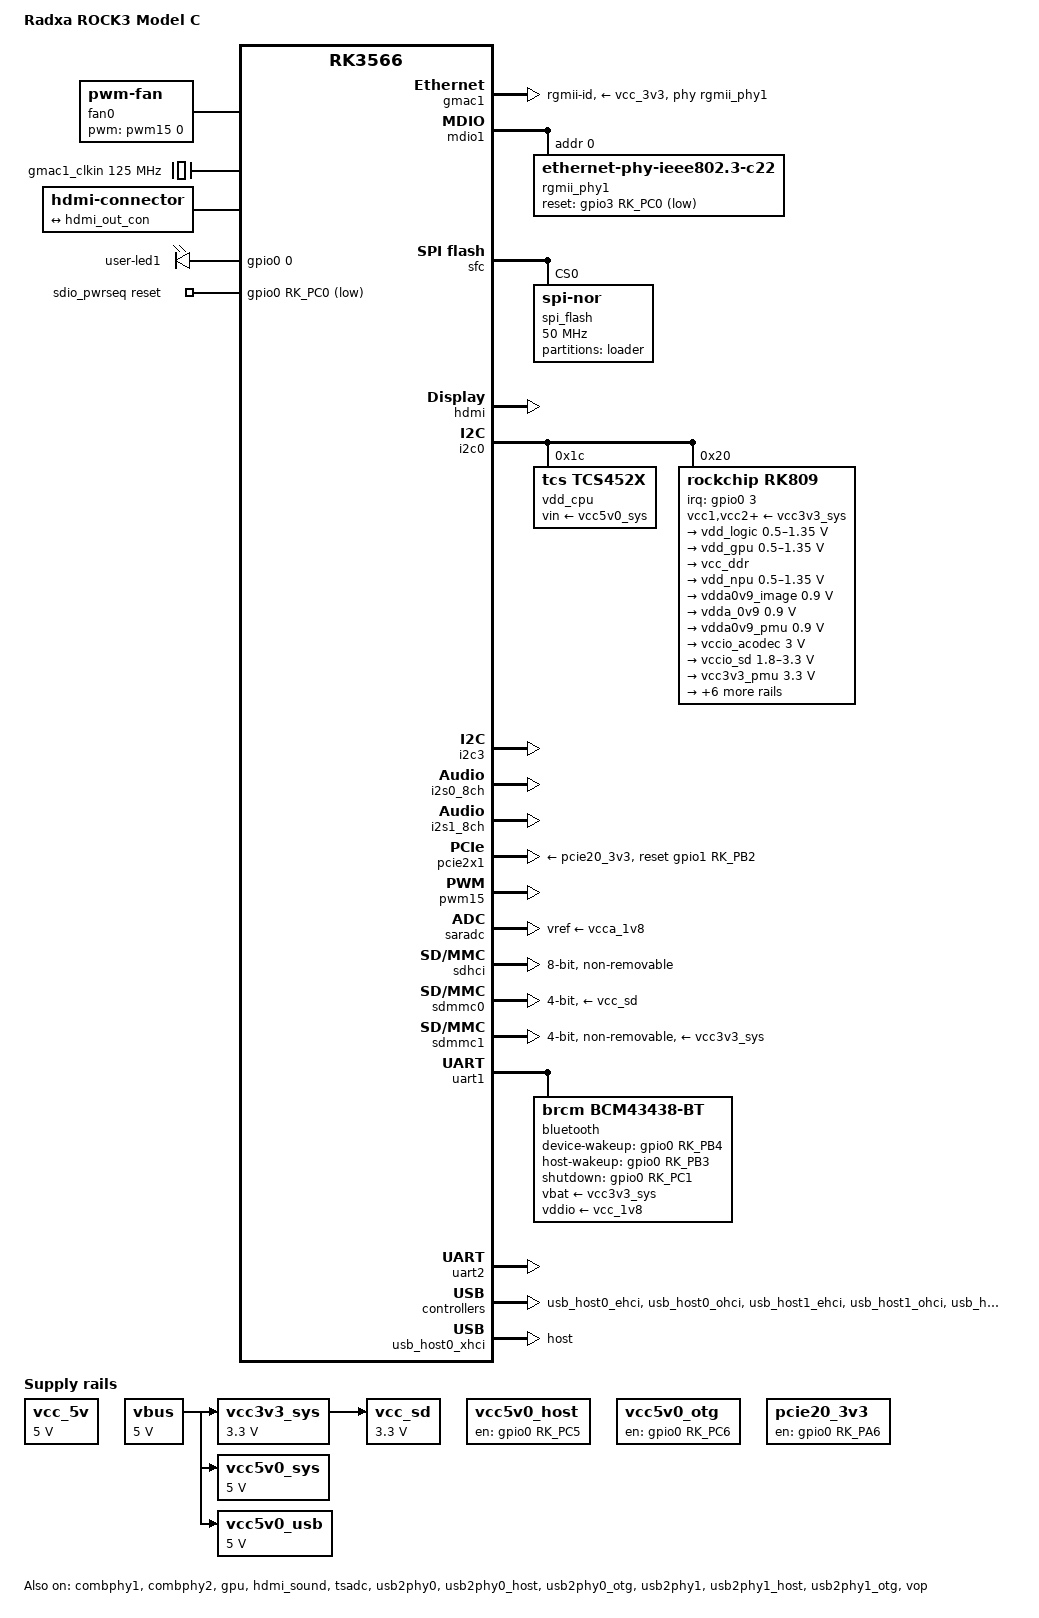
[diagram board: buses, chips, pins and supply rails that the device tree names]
// SPDX-License-Identifier: (GPL-2.0+ OR MIT)
/*
 * Copyright (c) 2020 Rockchip Electronics Co., Ltd.
 *
 */
/dts-v1/;

#include <dt-bindings/gpio/gpio.h>
#include <dt-bindings/pwm/pwm.h>
#include <dt-bindings/pinctrl/rockchip.h>
#include <dt-bindings/soc/rockchip,vop2.h>
#include "rk3566.dtsi"

/ {
	model = "Radxa ROCK3 Model C";
	compatible = "radxa,rock-3c", "rockchip,rk3566";

	aliases {
		ethernet0 = &gmac1;
		mmc0 = &sdhci;
		mmc1 = &sdmmc0;
	};

	chosen: chosen {
		stdout-path = "serial2:1500000n8";
	};

	fan0: pwm-fan {
		compatible = "pwm-fan";
		#cooling-cells = <2>;
		cooling-levels = <0 64 128 192 255>;
		pwms = <&pwm15 0 40000 0>;
	};
	
	gmac1_clkin: external-gmac1-clock {
		compatible = "fixed-clock";
		clock-frequency = <125000000>;
		clock-output-names = "gmac1_clkin";
		#clock-cells = <0>;
	};

	hdmi-con {
		compatible = "hdmi-connector";
		type = "a";

		port {
			hdmi_con_in: endpoint {
				remote-endpoint = <&hdmi_out_con>;
			};
		};
	};

	gpio-leds {
		compatible = "gpio-leds";
		status = "okay";

		user-led1 {
			gpios = <&gpio0 0 GPIO_ACTIVE_HIGH>;
			linux,default-trigger = "heartbeat";
			default-state = "on";
			pinctrl-0 = <&led_ctl>;
		};
	};	

	rk809-sound {
		compatible = "simple-audio-card";
		simple-audio-card,format = "i2s";
		simple-audio-card,name = "Analog RK809";
		simple-audio-card,mclk-fs = <256>;

		simple-audio-card,cpu {
			sound-dai = <&i2s1_8ch>;
		};

		simple-audio-card,codec {
			sound-dai = <&rk809>;
		};
	};

	sdio_pwrseq: sdio-pwrseq {
		compatible = "mmc-pwrseq-simple";
		clocks = <&rk809 1>;
		clock-names = "ext_clock";
		pinctrl-names = "default";
		pinctrl-0 = <&wifi_enable>;
		post-power-on-delay-ms = <100>;
		power-off-delay-us = <5000000>;
		reset-gpios = <&gpio0 RK_PC0 GPIO_ACTIVE_LOW>;
	};

	/* labeled +5v in schematic */
	vcc_5v: vcc-5v-regulator {
		compatible = "regulator-fixed";
		regulator-name = "vcc_5v";
		regulator-always-on;
		regulator-boot-on;
		regulator-min-microvolt = <5000000>;
		regulator-max-microvolt = <5000000>;
	};

	vbus: vbus {
		compatible = "regulator-fixed";
		regulator-name = "vbus";
		regulator-always-on;
		regulator-boot-on;
		regulator-min-microvolt = <5000000>;
		regulator-max-microvolt = <5000000>;
	};

	vcc3v3_sys: vcc3v3-sys {
		compatible = "regulator-fixed";
		regulator-name = "vcc3v3_sys";
		regulator-always-on;
		regulator-boot-on;
		regulator-min-microvolt = <3300000>;
		regulator-max-microvolt = <3300000>;
		vin-supply = <&vbus>;
	};

	vcc5v0_sys: vcc5v0-sys {
		compatible = "regulator-fixed";
		regulator-name = "vcc5v0_sys";
		regulator-always-on;
		regulator-boot-on;
		regulator-min-microvolt = <5000000>;
		regulator-max-microvolt = <5000000>;
		vin-supply = <&vbus>;
	};

	vcc5v0_usb: vcc5v0-usb {
		compatible = "regulator-fixed";
		regulator-name = "vcc5v0_usb";
		regulator-always-on;
		regulator-boot-on;
		regulator-min-microvolt = <5000000>;
		regulator-max-microvolt = <5000000>;
		vin-supply = <&vbus>;
	};

	vcc_sd: vcc-sd {
		compatible = "regulator-fixed";
		regulator-max-microvolt = <3300000>;
		regulator-min-microvolt = <3300000>;
		regulator-name = "vcc_sd";
		vin-supply = <&vcc3v3_sys>;
	};

	vcc5v0_host: vcc5v0-host-regulator {
		compatible = "regulator-fixed";
		enable-active-high;
		gpio = <&gpio0 RK_PC5 GPIO_ACTIVE_HIGH>;
		pinctrl-names = "default";
		pinctrl-0 = <&vcc5v0_host_en>;
		regulator-name = "vcc5v0_host";
		regulator-always-on;
		regulator-boot-on;
	};

	vcc5v0_otg: vcc5v0-otg-regulator {
		compatible = "regulator-fixed";
		enable-active-high;
		gpio = <&gpio0 RK_PC6 GPIO_ACTIVE_HIGH>;
		pinctrl-names = "default";
		pinctrl-0 = <&vcc5v0_otg_en>;
		regulator-name = "vcc5v0_otg";
		regulator-always-on;
		regulator-boot-on;
	};

	pcie20_3v3: pcie20-3v3-regulator {
		compatible = "regulator-fixed";
		enable-active-high;
		gpios = <&gpio0 RK_PA6 GPIO_ACTIVE_HIGH>;
		pinctrl-names = "default";
		pinctrl-0 = <&pcie20_3v3_en>;
		regulator-name = "pcie20_3v3";
		regulator-always-on;
		regulator-boot-on;
	};

};

&combphy1 {
	status = "okay";
};

&combphy2 {
	status = "okay";
};

&cpu0 {
	cpu-supply = <&vdd_cpu>;
};

&cpu1 {
	cpu-supply = <&vdd_cpu>;
};

&cpu2 {
	cpu-supply = <&vdd_cpu>;
};

&cpu3 {
	cpu-supply = <&vdd_cpu>;
};

&gmac1 {
	assigned-clocks = <&cru SCLK_GMAC1_RX_TX>, <&cru SCLK_GMAC1>;
	assigned-clock-parents = <&cru SCLK_GMAC1_RGMII_SPEED>, <&gmac1_clkin>;
	clock_in_out = "input";
	phy-handle = <&rgmii_phy1>;
	phy-mode = "rgmii-id";
	phy-supply = <&vcc_3v3>;
	pinctrl-names = "default";
	pinctrl-0 = <&gmac1m1_miim
		     &gmac1m1_tx_bus2
		     &gmac1m1_rx_bus2
		     &gmac1m1_rgmii_clk
		     &gmac1m1_clkinout
		     &gmac1m1_rgmii_bus>;
	status = "okay";
};

&mdio1 {
	rgmii_phy1: ethernet-phy@0 {
		compatible = "ethernet-phy-ieee802.3-c22";
		reg = <0x0>;
		pinctrl-names = "default";
		pinctrl-0 = <&eth_phy_rst>;
		reset-assert-us = <20000>;
		reset-deassert-us = <100000>;
		reset-gpios = <&gpio3 RK_PC0 GPIO_ACTIVE_LOW>;
	};
};

&sfc {
	status = "okay";
	max-freq = <50000000>;
	#address-cells = <1>;
	#size-cells = <0>;
	pinctrl-names = "default";
	pinctrl-0 = <&fspi_pins>;

	spi_flash: spi-flash@0 {
		#address-cells = <1>;
		#size-cells = <0>;
		compatible = "jedec,spi-nor";
		reg = <0x0>;
		spi-max-frequency = <50000000>;
		spi-tx-bus-width = <1>;
		spi-rx-bus-width = <4>;
		status = "okay";

		partitions {
			compatible = "fixed-partitions";
			#address-cells = <1>;
			#size-cells = <1>;
			loader@0 {
				label = "loader";
				reg = <0x0 0x1000000>;
			};
		};
	};
};

&gpu {
	mali-supply = <&vdd_gpu>;
	status = "okay";
};

&hdmi {
	avdd-0v9-supply = <&vdda0v9_image>;
	avdd-1v8-supply = <&vcca1v8_image>;
	status = "okay";
};

&hdmi_in {
	hdmi_in_vp0: endpoint {
		remote-endpoint = <&vp0_out_hdmi>;
	};
};

&hdmi_out {
	hdmi_out_con: endpoint {
		remote-endpoint = <&hdmi_con_in>;
	};
};

&hdmi_sound {
	status = "okay";
};

&i2c0 {
	status = "okay";

	vdd_cpu: tcs4525@1c {
		compatible = "tcs,tcs452x";
		reg = <0x1c>;
		vin-supply = <&vcc5v0_sys>;
		regulator-compatible = "fan53555-reg";
		regulator-name = "vdd_cpu";
		regulator-min-microvolt = <712500>;
		regulator-max-microvolt = <1390000>;
		regulator-init-microvolt = <1000000>;
		regulator-ramp-delay = <2300>;
		fcs,suspend-voltage-selector = <1>;
		regulator-boot-on;
		regulator-always-on;
		regulator-state-mem {
			regulator-off-in-suspend;
		};	
	};

	rk809: pmic@20 {
		compatible = "rockchip,rk809";
		reg = <0x20>;
		interrupt-parent = <&gpio0>;
		interrupts = <3 IRQ_TYPE_LEVEL_LOW>;

		assigned-clocks = <&cru I2S1_MCLKOUT_TX>;
		assigned-clock-parents = <&cru CLK_I2S1_8CH_TX>;
		#clock-cells = <1>;
		clock-names = "mclk";
		clocks = <&cru I2S1_MCLKOUT_TX>;
		pinctrl-names = "default", "pmic-sleep",
				"pmic-power-off", "pmic-reset";
		pinctrl-0 = <&pmic_int>, <&i2s1m0_mclk>;
		pinctrl-1 = <&soc_slppin_slp>, <&rk817_slppin_slp>;
		pinctrl-2 = <&soc_slppin_gpio>, <&rk817_slppin_pwrdn>;
		pinctrl-3 = <&soc_slppin_gpio>, <&rk817_slppin_rst>;
		#sound-dai-cells = <0>;

		rockchip,system-power-controller;
		wakeup-source;

		vcc1-supply = <&vcc3v3_sys>;
		vcc2-supply = <&vcc3v3_sys>;
		vcc3-supply = <&vcc3v3_sys>;
		vcc4-supply = <&vcc3v3_sys>;
		vcc5-supply = <&vcc3v3_sys>;
		vcc6-supply = <&vcc3v3_sys>;
		vcc7-supply = <&vcc3v3_sys>;
		vcc8-supply = <&vcc3v3_sys>;
		vcc9-supply = <&vcc3v3_sys>;

		pinctrl_rk8xx: pinctrl_rk8xx {
			gpio-controller;
			#gpio-cells = <2>;

			rk817_slppin_null: rk817_slppin_null {
				pins = "gpio_slp";
				function = "pin_fun0";
			};

			rk817_slppin_slp: rk817_slppin_slp {
				pins = "gpio_slp";
				function = "pin_fun1";
			};

			rk817_slppin_pwrdn: rk817_slppin_pwrdn {
				pins = "gpio_slp";
				function = "pin_fun2";
			};

			rk817_slppin_rst: rk817_slppin_rst {
				pins = "gpio_slp";
				function = "pin_fun3";
			};
		};

		regulators {
			vdd_logic: DCDC_REG1 {
				regulator-always-on;
				regulator-boot-on;
				regulator-min-microvolt = <500000>;
				regulator-max-microvolt = <1350000>;
				regulator-init-microvolt = <900000>;
				regulator-ramp-delay = <6001>;
				regulator-initial-mode = <0x2>;
				regulator-name = "vdd_logic";
				regulator-state-mem {
					regulator-off-in-suspend;
				};
			};

			vdd_gpu: DCDC_REG2 {
				regulator-always-on;
				regulator-boot-on;
				regulator-min-microvolt = <500000>;
				regulator-max-microvolt = <1350000>;
				regulator-init-microvolt = <900000>;
				regulator-ramp-delay = <6001>;
				regulator-initial-mode = <0x2>;
				regulator-name = "vdd_gpu";
				regulator-state-mem {
					regulator-off-in-suspend;
				};
			};

			vcc_ddr: DCDC_REG3 {
				regulator-always-on;
				regulator-boot-on;
				regulator-initial-mode = <0x2>;
				regulator-name = "vcc_ddr";
				regulator-state-mem {
					regulator-on-in-suspend;
				};
			};

			vdd_npu: DCDC_REG4 {
				regulator-always-on;
				regulator-boot-on;
				regulator-min-microvolt = <500000>;
				regulator-max-microvolt = <1350000>;
				regulator-init-microvolt = <900000>;
				regulator-ramp-delay = <6001>;
				regulator-initial-mode = <0x2>;
				regulator-name = "vdd_npu";
				regulator-state-mem {
					regulator-off-in-suspend;
				};
			};

			vdda0v9_image: LDO_REG1 {
				regulator-boot-on;
				regulator-always-on;
				regulator-min-microvolt = <900000>;
				regulator-max-microvolt = <900000>;
				regulator-name = "vdda0v9_image";
				regulator-state-mem {
					regulator-off-in-suspend;
				};
			};

			vdda_0v9: LDO_REG2 {
				regulator-always-on;
				regulator-boot-on;
				regulator-min-microvolt = <900000>;
				regulator-max-microvolt = <900000>;
				regulator-name = "vdda_0v9";
				regulator-state-mem {
					regulator-off-in-suspend;
				};
			};

			vdda0v9_pmu: LDO_REG3 {
				regulator-always-on;
				regulator-boot-on;
				regulator-min-microvolt = <900000>;
				regulator-max-microvolt = <900000>;
				regulator-name = "vdda0v9_pmu";
				regulator-state-mem {
					regulator-on-in-suspend;
					regulator-suspend-microvolt = <900000>;
				};
			};

			vccio_acodec: LDO_REG4 {
				regulator-always-on;
				regulator-boot-on;
				regulator-min-microvolt = <3000000>;
				regulator-max-microvolt = <3000000>;
				regulator-name = "vccio_acodec";
				regulator-state-mem {
					regulator-off-in-suspend;
				};
			};

			vccio_sd: LDO_REG5 {
				regulator-always-on;
				regulator-boot-on;
				regulator-min-microvolt = <1800000>;
				regulator-max-microvolt = <3300000>;
				regulator-name = "vccio_sd";
				regulator-state-mem {
					regulator-off-in-suspend;
				};
			};

			vcc3v3_pmu: LDO_REG6 {
				regulator-always-on;
				regulator-boot-on;
				regulator-min-microvolt = <3300000>;
				regulator-max-microvolt = <3300000>;
				regulator-name = "vcc3v3_pmu";
				regulator-state-mem {
					regulator-on-in-suspend;
					regulator-suspend-microvolt = <3300000>;
				};
			};

			vcca_1v8: LDO_REG7 {
				regulator-always-on;
				regulator-boot-on;
				regulator-min-microvolt = <1800000>;
				regulator-max-microvolt = <1800000>;
				regulator-name = "vcca_1v8";
				regulator-state-mem {
					regulator-off-in-suspend;
				};
			};

			vcca1v8_pmu: LDO_REG8 {
				regulator-always-on;
				regulator-boot-on;
				regulator-min-microvolt = <1800000>;
				regulator-max-microvolt = <1800000>;
				regulator-name = "vcca1v8_pmu";
				regulator-state-mem {
					regulator-on-in-suspend;
					regulator-suspend-microvolt = <1800000>;
				};
			};

			vcca1v8_image: LDO_REG9 {
				regulator-always-on;
				regulator-boot-on;
				regulator-min-microvolt = <1800000>;
				regulator-max-microvolt = <1800000>;
				regulator-name = "vcca1v8_image";
				regulator-state-mem {
					regulator-off-in-suspend;
				};
			};

			vcc_1v8: DCDC_REG5 {
				regulator-always-on;
				regulator-boot-on;
				regulator-min-microvolt = <1800000>;
				regulator-max-microvolt = <1800000>;
				regulator-name = "vcc_1v8";
				regulator-state-mem {
					regulator-off-in-suspend;
				};
			};

			vcc_3v3: SWITCH_REG1 {
				regulator-always-on;
				regulator-boot-on;
				regulator-name = "vcc_3v3";
				regulator-state-mem {
					regulator-off-in-suspend;
				};
			};

			vcc3v3_sd: SWITCH_REG2 {
				regulator-always-on;
				regulator-boot-on;
				regulator-name = "vcc3v3_sd";
				regulator-state-mem {
					regulator-off-in-suspend;
				};
			};
		};

		codec {
			mic-in-differential;
		};
	};
};

/*
 * i2c3_m0 is exposed on the 40-pin (green connectors)
 * pin 27 - i2c3_sda_m0
 * pin 28 - i2c3_scl_m0
 */
&i2c3 {
	status = "okay";
};

&i2s0_8ch {
	status = "okay";
};

&i2s1_8ch {
	pinctrl-names = "default";
	pinctrl-0 = <&i2s1m0_sclktx
		     &i2s1m0_lrcktx
		     &i2s1m0_sdi0
		     &i2s1m0_sdo0>;
	rockchip,trcm-sync-tx-only;
	status = "okay";
};

&pcie2x1 {
	reset-gpios = <&gpio1 RK_PB2 GPIO_ACTIVE_HIGH>;
	vpcie3v3-supply = <&pcie20_3v3>;
	pinctrl-0 = <&pcie20m2_pins>;
	status = "okay";
};

&pinctrl {
	wifi {
		wifi_enable: wifi-enable {
			rockchip,pins = <0 RK_PC0 RK_FUNC_GPIO &pcfg_pull_none>;
		};

		wifi_host_wake_l: wifi-host-wake-irq {
			rockchip,pins = <0 RK_PB7 RK_FUNC_GPIO &pcfg_pull_none>;
		};
	};

	bt {
		bt_enable_h: bt-enable-h {
			rockchip,pins = <0 RK_PC1 RK_FUNC_GPIO &pcfg_pull_none>;
		};

		bt_host_wake_l: bt-host-wake-l {
			rockchip,pins = <0 RK_PB3 RK_FUNC_GPIO &pcfg_pull_none>;
		};

		bt_wake_l: bt-wake-l {
			rockchip,pins = <0 RK_PB4 RK_FUNC_GPIO &pcfg_pull_none>;
		};
	};

	ethernet {
		eth_phy_rst: eth_phy_rst {
			rockchip,pins = <3 RK_PC0 RK_FUNC_GPIO &pcfg_pull_none>;
		};
	};

	pmic {
		pmic_int: pmic_int {
			rockchip,pins =
				<0 RK_PA3 RK_FUNC_GPIO &pcfg_pull_up>;
		};

		soc_slppin_gpio: soc_slppin_gpio {
			rockchip,pins =
				<0 RK_PA2 RK_FUNC_GPIO &pcfg_output_low>;
		};

		soc_slppin_slp: soc_slppin_slp {
			rockchip,pins =
				<0 RK_PA2 1 &pcfg_pull_none>;
		};

		soc_slppin_rst: soc_slppin_rst {
			rockchip,pins =
				<0 RK_PA2 2 &pcfg_pull_none>;
		};
	};

	usb {
		vcc5v0_host_en: vcc5v0-host-en {
			rockchip,pins = <0 RK_PC5 RK_FUNC_GPIO &pcfg_pull_none>;
		};

		vcc5v0_otg_en: vcc5v0-otg-en {
			rockchip,pins = <0 RK_PC6 RK_FUNC_GPIO &pcfg_pull_none>;
		};
	};

	leds {
		led_ctl: led-ctl {
			rockchip,pins = <0 RK_PA0 RK_FUNC_GPIO &pcfg_pull_none>;
		};
	};

	headphone {
		hp_det: hp-det {
			rockchip,pins = <0 RK_PC4 RK_FUNC_GPIO &pcfg_pull_down>;
		};
	};

	pcie {
		pcie20_3v3_en: pcie20-3v3-en {
			rockchip,pins = <0 RK_PA6 RK_FUNC_GPIO &pcfg_pull_none>;
		};
	};
};

 /*
  * There are 10 independent IO domains in RK3566/RK3568, including PMUIO[0:2] and VCCIO[1:7].
  * 1/ PMUIO0 and PMUIO1 are fixed-level power domains which cannot be configured;
  * 2/ PMUIO2 and VCCIO1,VCCIO[3:7] domains require that their hardware power supply voltages
  *    must be consistent with the software configuration correspondingly
  *	a/ When the hardware IO level is connected to 1.8V, the software voltage configuration
  *	   should also be configured to 1.8V accordingly;
  *	b/ When the hardware IO level is connected to 3.3V, the software voltage configuration
  *	   should also be configured to 3.3V accordingly;
  * 3/ VCCIO2 voltage control selection (0xFDC20140)
  *	BIT[0]: 0x0: from GPIO_0A7 (default)
  *	BIT[0]: 0x1: from GRF
  *    Default is determined by Pin FLASH_VOL_SEL/GPIO0_A7:
  *	L:VCCIO2 must supply 3.3V
  *	H:VCCIO2 must supply 1.8V
  */

&pmu_io_domains {
        status = "okay";
        pmuio2-supply = <&vcca1v8_pmu>;
	vccio1-supply = <&vccio_acodec>;
	vccio3-supply = <&vccio_sd>;
	vccio4-supply = <&vcca1v8_pmu>;
	vccio5-supply = <&vcc_3v3>;
	vccio6-supply = <&vcc_3v3>;
	vccio7-supply = <&vcc_3v3>;
};

&pwm15 {
	status = "okay";
};

&saradc {
	status = "okay";
	vref-supply = <&vcca_1v8>;
};

&sdhci {
	bus-width = <8>;
	max-frequency = <200000000>;
	non-removable;
	pinctrl-names = "default";
	pinctrl-0 = <&emmc_bus8 &emmc_clk &emmc_cmd>;
	status = "okay";
};

&sdmmc0 {
	max-frequency = <150000000>;
	bus-width = <4>;
	cap-mmc-highspeed;
	cap-sd-highspeed;
	disable-wp;
	sd-uhs-sdr104;
	vmmc-supply = <&vcc_sd>;
	vqmmc-supply = <&vccio_sd>;
	pinctrl-names = "default";
	pinctrl-0 = <&sdmmc0_bus4 &sdmmc0_clk &sdmmc0_cmd &sdmmc0_det>;
	status = "okay";
};

&sdmmc1 {
	bus-width = <4>;
	disable-wp;
	cap-sd-highspeed;
	cap-sdio-irq;
	keep-power-in-suspend;
	mmc-pwrseq = <&sdio_pwrseq>;
	non-removable;
	pinctrl-names = "default";
	pinctrl-0 = <&sdmmc1_bus4 &sdmmc1_cmd &sdmmc1_clk>;
	sd-uhs-sdr12;
	sd-uhs-sdr25;
	sd-uhs-sdr50;
	sd-uhs-sdr104;
	vmmc-supply = <&vcc3v3_sys>;
	vqmmc-supply = <&vcc_1v8>;
	status = "okay";
};

&tsadc {
	status = "okay";
};

&uart1 {
	status = "okay";
	pinctrl-names = "default";
	uart-has-rtscts;
	pinctrl-0 = <&uart1m0_xfer &uart1m0_ctsn &uart1m0_rtsn>;

	bluetooth {
		compatible = "brcm,bcm43438-bt";
		clocks = <&rk809 1>;
		clock-names = "lpo";
		device-wakeup-gpios = <&gpio0 RK_PB4 GPIO_ACTIVE_HIGH>;
		host-wakeup-gpios = <&gpio0 RK_PB3 GPIO_ACTIVE_HIGH>;
		shutdown-gpios = <&gpio0 RK_PC1 GPIO_ACTIVE_HIGH>;
		pinctrl-names = "default";
		pinctrl-0 = <&bt_host_wake_l &bt_wake_l &bt_enable_h>;
		vbat-supply = <&vcc3v3_sys>;
		vddio-supply = <&vcc_1v8>;
	};
};

/* (debug) uart2 has connectors near the usb-c power, but also on the 40-pin pins 6 (tx) and 8 (rx) - don't wire both */
&uart2 {
	status = "okay";
};

&usb2phy0 {
	status = "okay";
};

&usb2phy0_host {
	phy-supply = <&vcc5v0_host>;
	status = "okay";
};

&usb2phy0_otg {
	vbus-supply = <&vcc5v0_otg>;
	status = "okay";
};

&usb2phy1 {
	status = "okay";
};

&usb2phy1_host {
	phy-supply = <&vcc5v0_host>;
	status = "okay";
};

&usb2phy1_otg {
	phy-supply = <&vcc5v0_host>;
	status = "okay";
};

&usb_host0_ehci {
	status = "okay";
};

&usb_host0_ohci {
	status = "okay";
};

&usb_host0_xhci {
	dr_mode = "host";
	extcon = <&usb2phy0>;
	status = "okay";
};

&usb_host1_ehci {
	status = "okay";
};

&usb_host1_ohci {
	status = "okay";
};

&usb_host1_xhci {
	status = "okay";
};

&vop {
	assigned-clocks = <&cru DCLK_VOP0>, <&cru DCLK_VOP1>;
	assigned-clock-parents = <&pmucru PLL_HPLL>, <&cru PLL_VPLL>;
	status = "okay";
};

&vop_mmu {
	status = "okay";
};

&vp0 {
	vp0_out_hdmi: endpoint@ROCKCHIP_VOP2_EP_HDMI0 {
		reg = <ROCKCHIP_VOP2_EP_HDMI0>;
		remote-endpoint = <&hdmi_in_vp0>;
	};
};
